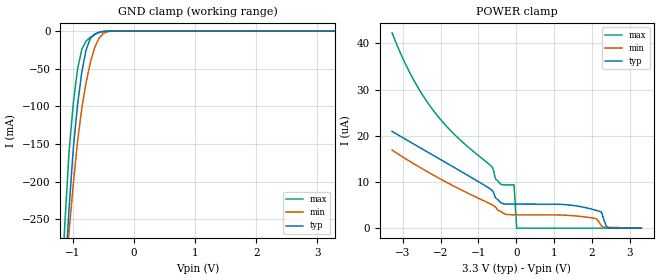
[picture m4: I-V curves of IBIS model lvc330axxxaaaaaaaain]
| [Disclaimer] This IBIS source code is intended as a design reference
| which illustrates how the Lattice Semiconductor device operates.
| It is the user's responsibility to verify their design for
| consistency and functionality through the use of formal
| verification methods.  Lattice Semiconductor provides no warranty
| regarding the use or functionality of this data.
| [Copyright] Copyright 2007 by Lattice Semiconductor Corporation
| From FPGA-new.ibs, SAPPHIRE, Lattice Semiconductor Corp.
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[Model] lvc330axxxaaaaaaaain
Model_type Input
Polarity   Non-Inverting
Vinl =  0.800V
Vinh =  2.000V
C_comp   3.989pF   3.921pF   4.070pF
[Temperature Range]   25.000   0.125k   -40.000
[Voltage Range]   3.300V   3.140V   3.470V
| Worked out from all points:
|   GND clamp passes 1 mA (typ) near -0.53 V on its own axis
[GND_clamp]
|Voltage   I(typ)   I(min)   I(max)
-3.3V     -4.927A    -3.455A    -6.917A
-1.2V     -438.1mA   -409.1mA   -376.6mA
-1.13V    -332.7mA   -335.8mA   -259mA
-1.06V    -236.4mA   -267.1mA   -161.1mA
-990mV    -156.1mA   -203.2mA   -95.66mA
-920mV    -97.62mA   -146.3mA   -50.27mA
-850mV    -53.69mA   -101.9mA   -24mA
-780mV    -24.61mA   -67.98mA   -13.11mA
-640mV    -3.861mA   -21.85mA   -4.556mA
-500mV    -479.8uA   -3.203mA   -548.3uA
-360mV    -16.03uA   -175uA     -13.11uA
3.28V     0A         0A         0A
[POWER_clamp]
|Voltage   I(typ)   I(min)   I(max)
-3.28V    20.95uA    16.89uA    42.25uA
-2.72V    18.26uA    14uA       32.21uA
-2.09V    15.27uA    11.02uA    24.4uA
-620mV    8.055uA    4.975uA    13.04uA
-550mV    6.572uA    4.601uA    10.68uA
-410mV    5.486uA    3.632uA    9.492uA
-60mV     5.201uA    2.894uA    9.362uA
10mV      5.199uA    2.88uA     0A
1.76V     4.557uA    2.485uA    0A
2.25V     3.456uA    456.3nA    0A
2.46V     27.62nA    159nA      0A
3.3V      0A         0A         0A
